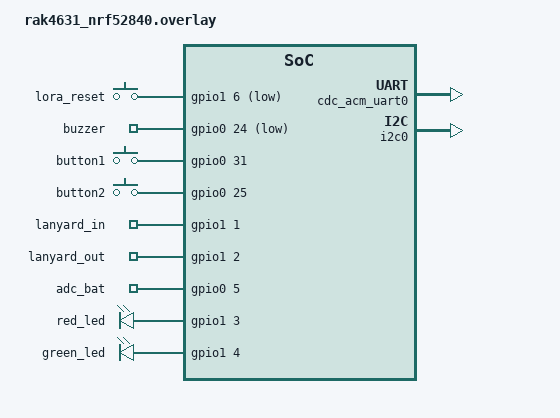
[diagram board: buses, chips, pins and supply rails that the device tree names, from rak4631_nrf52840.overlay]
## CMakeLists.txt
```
# SPDX-License-Identifier: Apache-2.0

cmake_minimum_required(VERSION 3.20.0)
find_package(Zephyr REQUIRED HINTS $ENV{ZEPHYR_BASE})
project(blinky)

include_directories($ENV{ZEPHYR_BASE}/../modules/lib/loramac-node/src/boards)
include_directories($ENV{ZEPHYR_BASE}/../modules/lib/loramac-node/src/mac)
include_directories($ENV{ZEPHYR_BASE}/../modules/lib/loramac-node/src/mac/region)
include_directories($ENV{ZEPHYR_BASE}/../modules/lib/loramac-node/src/system)
include_directories($ENV{ZEPHYR_BASE}/../modules/lib/loramac-node/src/radio)
include_directories($ENV{ZEPHYR_BASE}/../modules/lib/loramac-node/src/radio/sx126x)

target_sources(app PRIVATE src/main.c)
```

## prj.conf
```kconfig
CONFIG_GPIO=y
#CONFIG_BUZZER=y
#CONFIG_BEEPER=n
CONFIG_WATCHDOG=n

CONFIG_SPI=y
CONFIG_I2C=y
# CONFIG_GPIO=y			// dss
# CONFIG_SERIAL=y		// dss
CONFIG_NVS=y

CONFIG_SETTINGS=y
CONFIG_SETTINGS_NVS=y
CONFIG_SETTINGS_RUNTIME=y
CONFIG_FLASH=y
CONFIG_FLASH_PAGE_LAYOUT=y
CONFIG_FLASH_MAP=y

CONFIG_CPP=y
CONFIG_GLIBCXX_LIBCPP=y
CONFIG_PRINTK=y
CONFIG_WARN_EXPERIMENTAL=n
CONFIG_CBPRINTF_FP_SUPPORT=y
CONFIG_LOG=n

CONFIG_LORA=y
CONFIG_LORA_SX126X=y
CONFIG_LORAWAN=y
CONFIG_LORAMAC_REGION_US915=y

#CONFIG_BT=y
#CONFIG_BT_PERIPHERAL=y
#CONFIG_BT_CENTRAL=y
#CONFIG_BT_DEVICE_NAME="OSD"
#CONFIG_BT_NUS=y
#CONFIG_BT_CTLR_TX_PWR_DYNAMIC_CONTROL=y
## CONFIG_BT_CTLR_DATA_LENGTH_MAX=251		// dss
#CONFIG_BT_L2CAP_TX_MTU=251
#CONFIG_BT_BUF_ACL_RX_SIZE=251
#CONFIG_BT_BUF_EVT_RX_SIZE=251
## CONFIG_BT_BUF_ACL_TX_SIZE=251				// dss
#CONFIG_BT_BUF_ACL_TX_COUNT=10
#CONFIG_BT_BUF_CMD_TX_SIZE=251
#CONFIG_BT_BUF_CMD_TX_COUNT=10

#CONFIG_BOOTLOADER_MCUBOOT=y
#CONFIG_NCS_SAMPLE_MCUMGR_BT_OTA_DFU=y
#CONFIG_MCUMGR_GRP_IMG_UPLOAD_CHECK_HOOK=y
#CONFIG_MCUMGR_GRP_OS_RESET_HOOK=y
#CONFIG_MCUMGR_GRP_IMG=y
#CONFIG_MCUMGR_GRP_OS=y
#CONFIG_MCUMGR_TRANSPORT_BT=y
#CONFIG_MCUMGR_MGMT_NOTIFICATION_HOOKS=y
#CONFIG_MCUMGR_GRP_IMG_STATUS_HOOKS=y
##CONFIG_BT_LBS_SECURITY_ENABLED=y				intentionally commmented
#CONFIG_MCUMGR_TRANSPORT_BT_AUTHEN=n
#CONFIG_BT_DFU_SMP=y

#CONFIG_NRFX_TEMP=y

# CONFIG_MAIN_STACK_SIZE=2048
CONFIG_SYSTEM_WORKQUEUE_STACK_SIZE=4096

CONFIG_DATE_TIME=y
CONFIG_DATE_TIME_NTP=n
CONFIG_NEWLIB_LIBC_MIN_REQUIRED_HEAP_SIZE=2048

CONFIG_DEBUG=n
CONFIG_DEBUG_THREAD_INFO=n
CONFIG_DEBUG_OPTIMIZATIONS=n

CONFIG_PM=y
CONFIG_POWEROFF=y
CONFIG_PM_DEVICE=y
CONFIG_PM_DEVICE_RUNTIME=y

# HELMUT CHANGES
CONFIG_MAIN_STACK_SIZE=8192
CONFIG_ARM_MPU=n
CONFIG_CORTEX_M_DEBUG_MONITOR_HOOK=n
CONFIG_SEGGER_DEBUGMON=n

CONFIG_SENSOR=y

CONFIG_SERIAL=n
CONFIG_LOG=n
CONFIG_CONSOLE=n
CONFIG_UART_CONSOLE=n
CONFIG_RTT_CONSOLE=n
CONFIG_USE_SEGGER_RTT=n
CONFIG_PRINTK=n

# After beginning debugging, navigate to the "DEBUG CONSOLE" tab
# and enter the command "-exec monitor exec SetMonModeDebug=1" to
# allow non-blocking debugging (i.e. to allow BLE stack's thread to run in the background)
```

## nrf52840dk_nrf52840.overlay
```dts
&usbd {
    status = "disabled";
};

&i2c1 {
    status = "disabled";
};

&uart0 {
    status = "disabled";
};

&uart1 {
    status = "disabled";
};

&nfct {
    status = "disabled";
};

&qspi {
    status = "disabled";
};

&spi0 {
    status = "disabled";
};

&spi1 {
    status = "disabled";
};

&spi2 {
    status = "disabled";
};

//&spi3 {
//    /delete-property/ rx-delay-supported;
//    /delete-property/ rx-delay;
//};
```

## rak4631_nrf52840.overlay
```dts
//delete-node/ &green_led;
//delete-node/ &blue_led;
/delete-node/ &{/leds/led_1/};
/delete-node/ &{/leds/led_2/};

&zephyr_udc0 {
    cdc_acm_uart0: cdc_acm_uart0 {
		compatible = "zephyr,cdc-acm-uart";
	};
};

/ {
    chosen {
        zephyr,console = &cdc_acm_uart0;
    };

    osd {
        compatible = "gpio-keys";
        
        lora_reset: lora_reset {
            gpios = <&gpio1 6 GPIO_ACTIVE_LOW>;
        };

        buzzer: vibe_motor {
            gpios = <&gpio0 24 (GPIO_ACTIVE_LOW)>;
        };

        button1: switch1 {
            gpios = <&gpio0 31 0>;
        };
        
        button2: switch2 {
            gpios = <&gpio0 25 0>;
        };
        
        lanyard_in: lanyard_in {
            gpios = <&gpio1 1 (0)>;
        };

        lanyard_out: lanyard_out {
            gpios = <&gpio1 2 0>;
        };

        adc_bat: adc_bat {
            gpios = <&gpio0 5 0>;
        };
    };

    leds {
        red_led: red_led {
            gpios = <&gpio1 3 0>;
        };

        green_led: green_led {
            gpios = <&gpio1 4 0>;
        };
    };

    aliases {
        led0 = &green_led;
    };
};

/ {
    chosen {
        zephyr,shell-uart = &cdc_acm_uart0;
    };
};

&i2c0 {
    // rv3028: rv3028@52 {
    //     compatible = "i2c-device";
    //     reg = < 0x52 >;
    //     pins {
    //         compatible = "gpio-keys";
    //         rv3028_int_pin: rv3028_int_pin {
    //             gpios = <&gpio0 4 GPIO_ACTIVE_HIGH>;
    //         };
    //     };   
    //     status = "disabled";
    // };

//    accel: lis2dw12@19 {
//        compatible = "st,lis2dw12";
//        reg = < 0x19 >;
//        pins {
//            compatible = "gpio-keys";
//            accel_int_pin: accel_int_pin {
//                gpios = <&gpio0 15 GPIO_ACTIVE_HIGH>;
//            };
//        };
//        power-mode = <0>;
//        status = "okay";
//    };
    compatible = "nordic,nrf-twim";
    status="okay";
};

&i2c1 {
    status = "disabled";
};

&uart0 {
    status = "disabled";
};

&uart1 {
    status = "disabled";
};

&nfct {
    status = "disabled";
};

&qspi {
    status = "disabled";
};

&spi0 {
    status = "disabled";
};

&spi1 {
    /delete-property/ compatible;
    compatible = "nordic,nrf-spim";
};

&spi2 {
    status = "disabled";
};

&spi3 {
    status = "disabled";
};

&usbd {
    status = "disabled";
};
```

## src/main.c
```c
/*
 * Copyright (c) 2016 Intel Corporation
 *
 * SPDX-License-Identifier: Apache-2.0
 */

#include <zephyr/kernel.h>
#include <zephyr/pm/device_runtime.h>
#include <zephyr/pm/device.h>
#include <zephyr/lorawan/lorawan.h>
#include <zephyr/drivers/gpio.h>
#include <radio.h>
#include <sx126x.h>

static const struct device *const i2c0_dev = DEVICE_DT_GET(DT_NODELABEL(i2c0));
static const struct device *const lora_spi_dev = DEVICE_DT_GET(DT_NODELABEL(spi1));

int main(void)
{
    pm_device_action_run(i2c0_dev, PM_DEVICE_ACTION_SUSPEND);
    pm_device_action_run(lora_spi_dev, PM_DEVICE_ACTION_SUSPEND);

    while (true) {
        k_msleep(5000);
    }
} 
```
